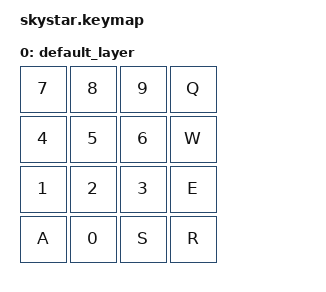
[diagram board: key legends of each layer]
/*
 * Copyright (c) 2020 The ZMK Contributors
 *
 * SPDX-License-Identifier: MIT
 */

#include <behaviors.dtsi>
#include <dt-bindings/zmk/keys.h>

/ {
    keymap {
        compatible = "zmk,keymap";

        default_layer {
            bindings = <
                &kp N7  &kp N8    &kp N9 &kp Q
                &kp N4  &kp N5    &kp N6 &kp W
                &kp N1  &kp N2    &kp N3 &kp E
                &kp A   &kp N0    &kp S  &kp R
            >;
        };
    };
};
